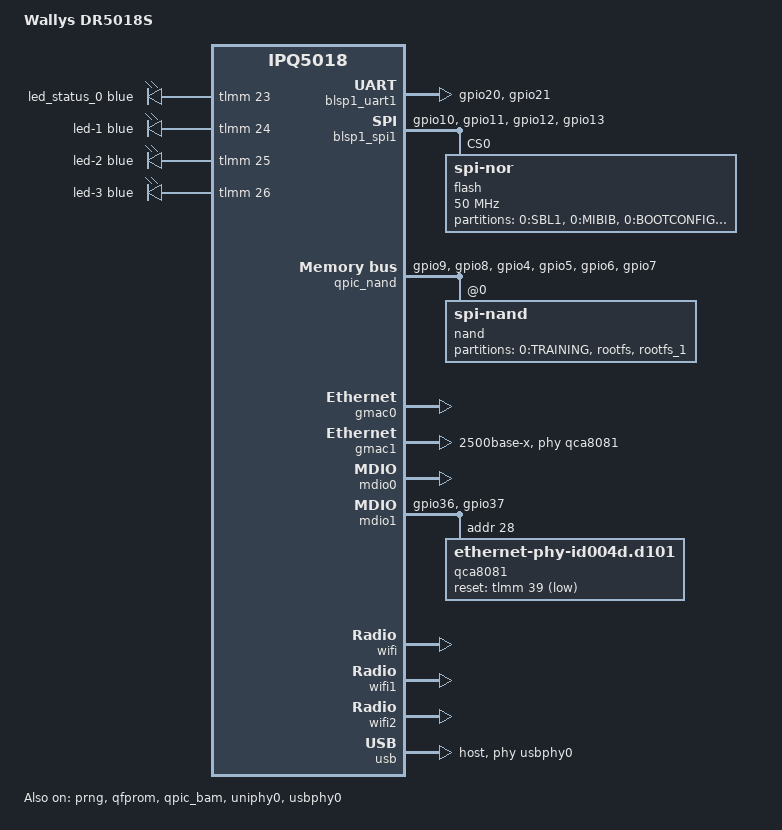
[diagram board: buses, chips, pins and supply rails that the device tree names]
// SPDX-License-Identifier: GPL-2.0-or-later OR MIT
/dts-v1/;

#include "ipq5018.dtsi"
#include "ipq5018-ess.dtsi"
#include "ipq5018-qcn6122.dtsi"

#include <dt-bindings/gpio/gpio.h>
#include <dt-bindings/leds/common.h>

/ {
	model = "Wallys DR5018S";
	compatible = "wallys,dr5018s", "qcom,ipq5018";

	aliases {
		/* Required by U-Boot to patch the Ethernet MAC addresses. */
		ethernet0 = &gmac0;
		ethernet1 = &gmac1;
		label-mac-device = &gmac0;
		led-boot = &led_status_0;
		led-failsafe = &led_status_0;
		led-running = &led_status_0;
		led-upgrade = &led_status_0;
		serial0 = &blsp1_uart1;
	};

	chosen {
		bootargs-append = " ubi.mtd=rootfs root=/dev/ubiblock0_1 rootwait swiotlb=1 coherent_pool=2M";
		stdout-path = "serial0:115200n8";
	};

	leds {
		compatible = "gpio-leds";
		pinctrl-0 = <&led_pins>;
		pinctrl-names = "default";

		led_status_0: led-0 {
			color = <LED_COLOR_ID_BLUE>;
			function = LED_FUNCTION_STATUS;
			function-enumerator = <0>;
			gpios = <&tlmm 23 GPIO_ACTIVE_HIGH>;
			default-state = "off";
		};

		led-1 {
			color = <LED_COLOR_ID_BLUE>;
			function = LED_FUNCTION_STATUS;
			function-enumerator = <1>;
			gpios = <&tlmm 24 GPIO_ACTIVE_HIGH>;
			default-state = "off";
		};

		led-2 {
			color = <LED_COLOR_ID_BLUE>;
			function = LED_FUNCTION_STATUS;
			function-enumerator = <2>;
			gpios = <&tlmm 25 GPIO_ACTIVE_HIGH>;
			default-state = "off";
		};

		led-3 {
			color = <LED_COLOR_ID_BLUE>;
			function = LED_FUNCTION_STATUS;
			function-enumerator = <3>;
			gpios = <&tlmm 26 GPIO_ACTIVE_HIGH>;
			default-state = "off";
		};
	};

	reserved-memory {
		q6_region_qcn6122_1: q6-region-qcn6122-1@4d200000 {
			reg = <0x0 0x4d200000 0x0 0xd00000>;
			no-map;
		};

		m3_dump_qcn6122_1: m3-dump-qcn6122-1@4df00000 {
			reg = <0x0 0x4df00000 0x0 0x100000>;
			no-map;
		};

		q6_region_qcn6122_2: q6-region-qcn6122-2@4e600000 {
			reg = <0x0 0x4e600000 0x0 0xd00000>;
			no-map;
		};

		m3_dump_qcn6122_2: m3-dump-qcn6122-2@4f300000 {
			reg = <0x0 0x4f300000 0x0 0x100000>;
			no-map;
		};
	};
};

&sleep_clk {
	clock-frequency = <32000>;
};

&xo_board_clk {
	clock-div = <4>;
	clock-mult = <1>;
};

&blsp1_uart1 {
	status = "okay";
	pinctrl-0 = <&serial_0_pins>;
	pinctrl-names = "default";
};

&blsp1_spi1 {
	status = "okay";
	pinctrl-0 = <&spi_pins>;
	pinctrl-names = "default";

	flash@0 {
		compatible = "jedec,spi-nor";
		reg = <0>;
		spi-max-frequency = <50000000>;

		partitions {
			compatible = "fixed-partitions";
			#address-cells = <1>;
			#size-cells = <1>;

			partition@0 {
				label = "0:SBL1";
				reg = <0x0 0x30000>;
				read-only;
			};

			partition@30000 {
				label = "0:MIBIB";
				reg = <0x30000 0x10000>;
				read-only;
			};

			partition@40000 {
				label = "0:BOOTCONFIG";
				reg = <0x40000 0x10000>;
				read-only;
			};

			partition@50000 {
				label = "0:BOOTCONFIG1";
				reg = <0x50000 0x10000>;
				read-only;
			};

			partition@60000 {
				label = "0:QSEE";
				reg = <0x60000 0xa0000>;
				read-only;
			};

			partition@100000 {
				label = "0:QSEE_1";
				reg = <0x100000 0xa0000>;
				read-only;
			};

			partition@1a0000 {
				label = "0:DEVCFG";
				reg = <0x1a0000 0x10000>;
				read-only;
			};

			partition@1b0000 {
				label = "0:DEVCFG_1";
				reg = <0x1b0000 0x10000>;
				read-only;
			};

			partition@1c0000 {
				label = "0:CDT";
				reg = <0x1c0000 0x10000>;
				read-only;
			};

			partition@1d0000 {
				label = "0:CDT_1";
				reg = <0x1d0000 0x10000>;
				read-only;
			};

			partition@1e0000 {
				label = "0:APPSBLENV";
				reg = <0x1e0000 0x10000>;
			};

			partition@1f0000 {
				label = "0:APPSBL";
				reg = <0x1f0000 0xa0000>;
				read-only;
			};

			partition@290000 {
				label = "0:APPSBL_1";
				reg = <0x290000 0xa0000>;
				read-only;
			};

			partition@330000 {
				label = "0:ART";
				reg = <0x330000 0x70000>;
				read-only;
			};
		};
	};
};

&prng {
	status = "okay";
};

&qfprom {
	status = "okay";
};

&qpic_bam {
	status = "okay";
};

&qpic_nand {
	pinctrl-0 = <&qpic_pins>;
	pinctrl-names = "default";
	status = "okay";

	nand@0 {
		compatible = "spi-nand";
		reg = <0>;
		nand-ecc-engine = <&qpic_nand>;
		nand-ecc-step-size = <512>;
		nand-ecc-strength = <8>;
		nand-bus-width = <8>;

		partitions {
			compatible = "fixed-partitions";
			#address-cells = <1>;
			#size-cells = <1>;

			partition@0 {
				label = "0:TRAINING";
				reg = <0x0 0x80000>;
				read-only;
			};

			partition@80000 {
				label = "rootfs";
				reg = <0x80000 0x3e00000>;
				linux,rootfs;
			};

			partition@3e80000 {
				label = "rootfs_1";
				reg = <0x3e80000 0x3e00000>;
			};
		};
	};
};

&uniphy0 {
	status = "okay";

	assigned-clocks = <&uniphy0 UNIPHY_CLK_REF>;
	assigned-clock-rates = <UNIPHY_REFCLK_50MHZ>;
};

&gmac0 {
	status = "okay";

	label = "lan";
};

&gmac1 {
	status = "okay";

	phy-handle = <&qca8081>;
	phy-mode = "2500base-x";
	label = "wan";
};

&mdio0 {
	status = "okay";
};

&mdio1 {
	status = "okay";

	pinctrl-0 = <&mdio1_pins>;
	pinctrl-names = "default";

	qca8081: ethernet-phy@28 {
		compatible = "ethernet-phy-id004d.d101";
		reg = <28>;
		reset-gpios = <&tlmm 39 GPIO_ACTIVE_LOW>;
		reset-deassert-us = <10000>;
	};
};

&tlmm {
	serial_0_pins: uart0-state {
		pins = "gpio20", "gpio21";
		function = "blsp0_uart0";
		bias-disable;
	};

	led_pins: led-state {
		pins = "gpio23", "gpio24", "gpio25", "gpio26";
		function = "gpio";
		drive-strength = <8>;
		bias-pull-down;
	};

	mdio1_pins: mdio-state {
		mdc-pins {
			pins = "gpio36";
			function = "mdc";
			drive-strength = <8>;
			bias-pull-up;
		};

		mdio-pins {
			pins = "gpio37";
			function = "mdio";
			drive-strength = <8>;
			bias-pull-up;
		};
	};

	qpic_pins: qpic-state {
		clock-pins {
			pins = "gpio9";
			function = "qspi_clk";
			drive-strength = <8>;
			bias-disable;
		};

		cs-pins {
			pins = "gpio8";
			function = "qspi_cs";
			drive-strength = <8>;
			bias-disable;
		};

		data-pins {
			pins = "gpio4", "gpio5", "gpio6", "gpio7";
			function = "qspi_data";
			drive-strength = <8>;
			bias-disable;
		};
	};

	spi_pins: spi-state {
		pins = "gpio10", "gpio11", "gpio12", "gpio13";
		function = "blsp0_spi";
		drive-strength = <8>;
		bias-disable;
	};
};

&wifi {
	status = "okay";

	qcom,rproc = <&q6v5_wcss>;
	qcom,ath11k-calibration-variant = "Wallys-DR5018S-2G";
	qcom,ath11k-fw-memory-mode = <1>;
};

&wifi1 {
	status = "okay";

	qcom,rproc = <&q6v5_wcss>;
	qcom,ath11k-calibration-variant = "Wallys-DR5018S-5G";
	qcom,ath11k-fw-memory-mode = <1>;
	memory-region = <&q6_region_qcn6122_1>, <&q6_region_ipq5018>, <&m3_dump_qcn6122_1>;
	memory-region-names = "q6-region", "m3-region", "m3-dump";
};

&wifi2 {
	status = "okay";

	qcom,rproc = <&q6v5_wcss>;
	qcom,ath11k-calibration-variant = "Wallys-DR5018S-6G";
	qcom,ath11k-fw-memory-mode = <1>;
	memory-region = <&q6_region_qcn6122_2>, <&q6_region_ipq5018>, <&m3_dump_qcn6122_2>;
	memory-region-names = "q6-region", "m3-region", "m3-dump";
};

&usb {
	dr_mode = "host";
	maximum-speed = "high-speed";
	phys = <&usbphy0>;
	phy-names = "usb2-phy";
	qcom,select-utmi-as-pipe-clk;

	status = "okay";
};

&usbphy0 {
	status = "okay";
};
